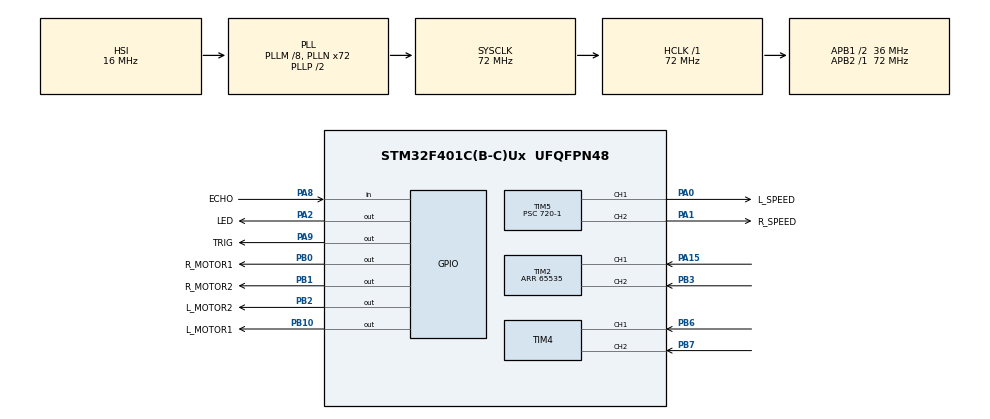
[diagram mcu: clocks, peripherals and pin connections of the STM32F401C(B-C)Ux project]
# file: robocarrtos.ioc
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Dma.Request0=TIM5_CH1
Dma.Request1=TIM5_CH2
Dma.TIM5_CH1.0.Direction=DMA_MEMORY_TO_PERIPH
Dma.TIM5_CH1.0.FIFOMode=DMA_FIFOMODE_DISABLE
Dma.TIM5_CH1.0.Instance=DMA1_Stream2
Dma.TIM5_CH1.0.MemDataAlignment=DMA_MDATAALIGN_HALFWORD
Dma.TIM5_CH1.0.MemInc=DMA_MINC_ENABLE
Dma.TIM5_CH1.0.Mode=DMA_NORMAL
Dma.TIM5_CH1.0.PeriphDataAlignment=DMA_PDATAALIGN_HALFWORD
Dma.TIM5_CH1.0.PeriphInc=DMA_PINC_DISABLE
Dma.TIM5_CH1.0.Priority=DMA_PRIORITY_LOW
Dma.TIM5_CH2.1.Direction=DMA_MEMORY_TO_PERIPH
Dma.TIM5_CH2.1.FIFOMode=DMA_FIFOMODE_DISABLE
Dma.TIM5_CH2.1.Instance=DMA1_Stream4
Dma.TIM5_CH2.1.MemDataAlignment=DMA_MDATAALIGN_HALFWORD
Dma.TIM5_CH2.1.MemInc=DMA_MINC_ENABLE
Dma.TIM5_CH2.1.Mode=DMA_NORMAL
Dma.TIM5_CH2.1.PeriphDataAlignment=DMA_PDATAALIGN_HALFWORD
Dma.TIM5_CH2.1.PeriphInc=DMA_PINC_DISABLE
Dma.TIM5_CH2.1.Priority=DMA_PRIORITY_LOW
FREERTOS.Tasks01=defaultTask,8,128,StartDefaultTask,Default,NULL,Dynamic,NULL,NULL;ProcessDistance,23,128,StartpDistance,Default,NULL,Dynamic,NULL,NULL;updateTicks,32,128,StartTicks,Default,NULL,Dynamic,NULL,NULL;DirectionContro,36,128,StartDirection,Default,NULL,Dynamic,NULL,NULL
FREERTOS.configUSE_NEWLIB_REENTRANT=1
Mcu.Family=STM32F4
Mcu.Name=STM32F401C(B-C)Ux
Mcu.Package=UFQFPN48
NVIC.DMA1_Stream2_IRQn=true\:5\:0\:false\:false\:true\:true\:false\:true\:true
NVIC.DMA1_Stream4_IRQn=true\:5\:0\:false\:false\:true\:true\:false\:true\:true
NVIC.PriorityGroup=NVIC_PRIORITYGROUP_4
NVIC.TIM1_UP_TIM10_IRQn=true\:15\:0\:false\:false\:true\:false\:false\:true\:true
NVIC.TIM2_IRQn=true\:5\:0\:false\:false\:true\:true\:true\:true\:true
NVIC.TIM4_IRQn=true\:5\:0\:false\:false\:true\:true\:true\:true\:true
NVIC.TimeBase=TIM1_UP_TIM10_IRQn
NVIC.TimeBaseIP=TIM10
PA0-WKUP.GPIO_Label=L_SPEED
PA0-WKUP.Signal=S_TIM5_CH1
PA1.GPIO_Label=R_SPEED
PA1.Signal=S_TIM5_CH2
PA13.Mode=Serial_Wire
PA13.Signal=SYS_JTMS-SWDIO
PA14.Mode=Serial_Wire
PA14.Signal=SYS_JTCK-SWCLK
PA15.Signal=S_TIM2_CH1_ETR
PA2.GPIO_Label=LED
PA2.Signal=GPIO_Output
PA8.GPIO_Label=ECHO
PA8.Signal=GPIO_Input
PA9.GPIO_Label=TRIG
PA9.Signal=GPIO_Output
PB0.GPIO_Label=R_MOTOR1
PB0.Signal=GPIO_Output
PB1.GPIO_Label=R_MOTOR2
PB1.Signal=GPIO_Output
PB10.GPIO_Label=L_MOTOR1
PB10.Signal=GPIO_Output
PB2.GPIO_Label=L_MOTOR2
PB2.Signal=GPIO_Output
PB3.Signal=S_TIM2_CH2
PB6.Signal=S_TIM4_CH1
PB7.Signal=S_TIM4_CH2
ProjectManager.HeapSize=0x200
ProjectManager.StackSize=0x400
ProjectManager.TargetToolchain=STM32CubeIDE
RCC.48MHZClocksFreq_Value=36000000
RCC.AHBFreq_Value=72000000
RCC.APB1CLKDivider=RCC_HCLK_DIV2
RCC.APB1Freq_Value=36000000
RCC.APB1TimFreq_Value=72000000
RCC.APB2Freq_Value=72000000
RCC.APB2TimFreq_Value=72000000
RCC.CortexFreq_Value=72000000
RCC.HCLKFreq_Value=72000000
RCC.HSE_VALUE=25000000
RCC.HSI_VALUE=16000000
RCC.LSE_VALUE=32768
RCC.PLLM=8
RCC.PLLN=72
RCC.SYSCLKFreq_VALUE=72000000
RCC.SYSCLKSource=RCC_SYSCLKSOURCE_PLLCLK
RCC.VCOOutputFreq_Value=144000000
SH.S_TIM2_CH1_ETR.0=TIM2_CH1,Encoder_Interface
SH.S_TIM2_CH2.0=TIM2_CH2,Encoder_Interface
SH.S_TIM4_CH1.0=TIM4_CH1,Encoder_Interface
SH.S_TIM4_CH2.0=TIM4_CH2,Encoder_Interface
SH.S_TIM5_CH1.0=TIM5_CH1,PWM Generation1 CH1
SH.S_TIM5_CH2.0=TIM5_CH2,PWM Generation2 CH2
TIM1.Prescaler=71
TIM2.EncoderMode=TIM_ENCODERMODE_TI12
TIM2.IC1Polarity=TIM_ICPOLARITY_RISING
TIM2.IC2Polarity=TIM_ICPOLARITY_RISING
TIM2.Period=65535
TIM4.EncoderMode=TIM_ENCODERMODE_TI12
TIM5.Channel-PWM\ Generation1\ CH1=TIM_CHANNEL_1
TIM5.Channel-PWM\ Generation2\ CH2=TIM_CHANNEL_2
TIM5.Period=1000-1
TIM5.Prescaler=720-1
TIM5.Pulse-PWM\ Generation1\ CH1=500
TIM5.Pulse-PWM\ Generation2\ CH2=1000
VP_FREERTOS_VS_CMSIS_V2.Mode=CMSIS_V2
VP_SYS_VS_tim10.Mode=TIM10
VP_TIM1_VS_ClockSourceINT.Mode=Internal
VP_TIM5_VS_ClockSourceINT.Mode=Internal
board=custom

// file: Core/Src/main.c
/* USER CODE BEGIN Header */
/**
 ******************************************************************************
 * @file           : main.c
 * @brief          : Main program body
 ******************************************************************************
 * @attention
 *
 * Copyright (c) 2023 STMicroelectronics.
 * All rights reserved.
 *
 * This software is licensed under terms that can be found in the LICENSE file
 * in the root directory of this software component.
 * If no LICENSE file comes with this software, it is provided AS-IS.
 *
 ******************************************************************************
 */
/* USER CODE END Header */
#include "main.h"
#include "cmsis_os.h"

/* USER CODE BEGIN PTD */
typedef enum {
	STOP,
	FOWARD,
	BACKWARD,
	LEFT,
	RIGHT,
	FREE
} motorDirection;
/* USER CODE END PTD */

TIM_HandleTypeDef htim1;
TIM_HandleTypeDef htim2;
TIM_HandleTypeDef htim4;
TIM_HandleTypeDef htim5;
DMA_HandleTypeDef hdma_tim5_ch1;
DMA_HandleTypeDef hdma_tim5_ch2;

/* Definitions for defaultTask */
osThreadId_t defaultTaskHandle;
const osThreadAttr_t defaultTask_attributes = {
  .name = "defaultTask",
  .stack_size = 128 * 4,
  .priority = (osPriority_t) osPriorityLow,
};
/* Definitions for ProcessDistance */
osThreadId_t ProcessDistanceHandle;
const osThreadAttr_t ProcessDistance_attributes = {
  .name = "ProcessDistance",
  .stack_size = 128 * 4,
  .priority = (osPriority_t) osPriorityBelowNormal7,
};
/* Definitions for updateTicks */
osThreadId_t updateTicksHandle;
const osThreadAttr_t updateTicks_attributes = {
  .name = "updateTicks",
  .stack_size = 128 * 4,
  .priority = (osPriority_t) osPriorityAboveNormal,
};
/* Definitions for DirectionContro */
osThreadId_t DirectionControHandle;
const osThreadAttr_t DirectionContro_attributes = {
  .name = "DirectionContro",
  .stack_size = 128 * 4,
  .priority = (osPriority_t) osPriorityAboveNormal4,
};
/* USER CODE BEGIN PV */
#define TRIG_PIN GPIO_PIN_9
#define TRIG_PORT GPIOA
#define ECHO_PIN GPIO_PIN_8
#define ECHO_PORT GPIOA
uint32_t pMillis;
uint32_t Value1 = 0;
uint32_t Value2 = 0;
uint16_t Distance  = 0;  // cm
int16_t encoder_velocity;
int32_t encoder_position;
uint32_t timerCounter;
int16_t timerC;
uint32_t ticks;
uint32_t timerCounterR;
int16_t timerCR;
uint32_t ticksR;
/* USER CODE END PV */

void SystemClock_Config(void);
static void MX_GPIO_Init(void);
static void MX_DMA_Init(void);
static void MX_TIM1_Init(void);
static void MX_TIM2_Init(void);
static void MX_TIM4_Init(void);
static void MX_TIM5_Init(void);
void StartDefaultTask(void *argument);
void StartpDistance(void *argument);
void StartTicks(void *argument);
void StartDirection(void *argument);

/* USER CODE BEGIN PFP */
void drive(motorDirection x); // Robot directions (see enum)
void speedRight(int x); //PWM right
void speedLeft(int x); //PWM Left
void updateDistance(void); // Updates Distance Var
/* USER CODE END PFP */

/* USER CODE BEGIN 0 */
// Calls when timer completes
void HAL_TIM_IC_CaptureCallback(TIM_HandleTypeDef *htim) {

	if(htim == &htim2) {
		timerCounter = __HAL_TIM_GET_COUNTER (htim) ; //gets ticks for motor 1
		timerC = (int16_t)timerCounter; //Convert type to fix overflow
	} else if(htim == &htim4) {
		timerCounterR = __HAL_TIM_GET_COUNTER (htim) ; //gets ticks for motor 2
		timerCR = (int16_t)timerCounterR;
	}

}
/* USER CODE END 0 */

int main(void)
{

  /* MCU Configuration--------------------------------------------------------*/

  /* Reset of all peripherals, Initializes the Flash interface and the Systick. */
  HAL_Init();

  /* Configure the system clock */
  SystemClock_Config();

  /* Initialize all configured peripherals */
  MX_GPIO_Init();
  MX_DMA_Init();
  MX_TIM1_Init();
  MX_TIM2_Init();
  MX_TIM4_Init();
  MX_TIM5_Init();
  /* USER CODE BEGIN 2 */
	HAL_TIM_Base_Start(&htim1); // Start timer for distance sensor sound wave time tracking
	HAL_GPIO_WritePin(TRIG_PORT, TRIG_PIN, GPIO_PIN_RESET);  // pull the TRIG pin low for distance sensor
	// Sets values to 0 in main (allows live variables for debugging)
	timerCounter = 0;
	timerCounterR = 0;
	ticks = 0;
	//set both motors to 100% duty cycle (full speed)
	speedLeft(1000);
	speedRight(1000);
	HAL_TIM_Encoder_Start_IT(&htim2, TIM_CHANNEL_ALL); //Start timer to check ticks for motor 1
	HAL_TIM_Encoder_Start_IT(&htim4, TIM_CHANNEL_ALL); //Start timer to check ticks for motor2
	HAL_TIM_PWM_Start(&htim5, TIM_CHANNEL_1); // Start PWM for motor 1 (PWM controls speed with duty cycle)
	HAL_TIM_PWM_Start(&htim5, TIM_CHANNEL_2); // Start PWM for motor 2
  /* USER CODE END 2 */

  /* Init scheduler */
  osKernelInitialize();

  /* Create the thread(s) */
  /* creation of defaultTask */
  defaultTaskHandle = osThreadNew(StartDefaultTask, NULL, &defaultTask_attributes);

  /* creation of ProcessDistance */
  ProcessDistanceHandle = osThreadNew(StartpDistance, NULL, &ProcessDistance_attributes);

  /* creation of updateTicks */
  updateTicksHandle = osThreadNew(StartTicks, NULL, &updateTicks_attributes);

  /* creation of DirectionContro */
  DirectionControHandle = osThreadNew(StartDirection, NULL, &DirectionContro_attributes);

  /* Start scheduler */
  osKernelStart();

  /* We should never get here as control is now taken by the scheduler */
  /* Infinite loop */
	while (1)
	{

	}
}

void SystemClock_Config(void)
{
  RCC_OscInitTypeDef RCC_OscInitStruct = {0};
  RCC_ClkInitTypeDef RCC_ClkInitStruct = {0};

  /** Configure the main internal regulator output voltage
  */
  __HAL_RCC_PWR_CLK_ENABLE();
  __HAL_PWR_VOLTAGESCALING_CONFIG(PWR_REGULATOR_VOLTAGE_SCALE2);

  /** Initializes the RCC Oscillators according to the specified parameters
  * in the RCC_OscInitTypeDef structure.
  */
  RCC_OscInitStruct.OscillatorType = RCC_OSCILLATORTYPE_HSI;
  RCC_OscInitStruct.HSIState = RCC_HSI_ON;
  RCC_OscInitStruct.HSICalibrationValue = RCC_HSICALIBRATION_DEFAULT;
  RCC_OscInitStruct.PLL.PLLState = RCC_PLL_ON;
  RCC_OscInitStruct.PLL.PLLSource = RCC_PLLSOURCE_HSI;
  RCC_OscInitStruct.PLL.PLLM = 8;
  RCC_OscInitStruct.PLL.PLLN = 72;
  RCC_OscInitStruct.PLL.PLLP = RCC_PLLP_DIV2;
  RCC_OscInitStruct.PLL.PLLQ = 4;
  if (HAL_RCC_OscConfig(&RCC_OscInitStruct) != HAL_OK)
  {
    Error_Handler();
  }

  /** Initializes the CPU, AHB and APB buses clocks
  */
  RCC_ClkInitStruct.ClockType = RCC_CLOCKTYPE_HCLK|RCC_CLOCKTYPE_SYSCLK
                              |RCC_CLOCKTYPE_PCLK1|RCC_CLOCKTYPE_PCLK2;
  RCC_ClkInitStruct.SYSCLKSource = RCC_SYSCLKSOURCE_PLLCLK;
  RCC_ClkInitStruct.AHBCLKDivider = RCC_SYSCLK_DIV1;
  RCC_ClkInitStruct.APB1CLKDivider = RCC_HCLK_DIV2;
  RCC_ClkInitStruct.APB2CLKDivider = RCC_HCLK_DIV1;

  if (HAL_RCC_ClockConfig(&RCC_ClkInitStruct, FLASH_LATENCY_2) != HAL_OK)
  {
    Error_Handler();
  }
}

static void MX_TIM1_Init(void)
{

  TIM_ClockConfigTypeDef sClockSourceConfig = {0};
  TIM_MasterConfigTypeDef sMasterConfig = {0};

  htim1.Instance = TIM1;
  htim1.Init.Prescaler = 71;
  htim1.Init.CounterMode = TIM_COUNTERMODE_UP;
  htim1.Init.Period = 65535;
  htim1.Init.ClockDivision = TIM_CLOCKDIVISION_DIV1;
  htim1.Init.RepetitionCounter = 0;
  htim1.Init.AutoReloadPreload = TIM_AUTORELOAD_PRELOAD_DISABLE;
  if (HAL_TIM_Base_Init(&htim1) != HAL_OK)
  {
    Error_Handler();
  }
  sClockSourceConfig.ClockSource = TIM_CLOCKSOURCE_INTERNAL;
  if (HAL_TIM_ConfigClockSource(&htim1, &sClockSourceConfig) != HAL_OK)
  {
    Error_Handler();
  }
  sMasterConfig.MasterOutputTrigger = TIM_TRGO_RESET;
  sMasterConfig.MasterSlaveMode = TIM_MASTERSLAVEMODE_DISABLE;
  if (HAL_TIMEx_MasterConfigSynchronization(&htim1, &sMasterConfig) != HAL_OK)
  {
    Error_Handler();
  }

}

static void MX_TIM2_Init(void)
{

  TIM_Encoder_InitTypeDef sConfig = {0};
  TIM_MasterConfigTypeDef sMasterConfig = {0};

  htim2.Instance = TIM2;
  htim2.Init.Prescaler = 0;
  htim2.Init.CounterMode = TIM_COUNTERMODE_UP;
  htim2.Init.Period = 65535;
  htim2.Init.ClockDivision = TIM_CLOCKDIVISION_DIV1;
  htim2.Init.AutoReloadPreload = TIM_AUTORELOAD_PRELOAD_DISABLE;
  sConfig.EncoderMode = TIM_ENCODERMODE_TI12;
  sConfig.IC1Polarity = TIM_ICPOLARITY_RISING;
  sConfig.IC1Selection = TIM_ICSELECTION_DIRECTTI;
  sConfig.IC1Prescaler = TIM_ICPSC_DIV1;
  sConfig.IC1Filter = 0;
  sConfig.IC2Polarity = TIM_ICPOLARITY_RISING;
  sConfig.IC2Selection = TIM_ICSELECTION_DIRECTTI;
  sConfig.IC2Prescaler = TIM_ICPSC_DIV1;
  sConfig.IC2Filter = 0;
  if (HAL_TIM_Encoder_Init(&htim2, &sConfig) != HAL_OK)
  {
    Error_Handler();
  }
  sMasterConfig.MasterOutputTrigger = TIM_TRGO_RESET;
  sMasterConfig.MasterSlaveMode = TIM_MASTERSLAVEMODE_DISABLE;
  if (HAL_TIMEx_MasterConfigSynchronization(&htim2, &sMasterConfig) != HAL_OK)
  {
    Error_Handler();
  }

}

static void MX_TIM4_Init(void)
{

  TIM_Encoder_InitTypeDef sConfig = {0};
  TIM_MasterConfigTypeDef sMasterConfig = {0};

  htim4.Instance = TIM4;
  htim4.Init.Prescaler = 0;
  htim4.Init.CounterMode = TIM_COUNTERMODE_UP;
  htim4.Init.Period = 65535;
  htim4.Init.ClockDivision = TIM_CLOCKDIVISION_DIV1;
  htim4.Init.AutoReloadPreload = TIM_AUTORELOAD_PRELOAD_DISABLE;
  sConfig.EncoderMode = TIM_ENCODERMODE_TI12;
  sConfig.IC1Polarity = TIM_ICPOLARITY_RISING;
  sConfig.IC1Selection = TIM_ICSELECTION_DIRECTTI;
  sConfig.IC1Prescaler = TIM_ICPSC_DIV1;
  sConfig.IC1Filter = 0;
  sConfig.IC2Polarity = TIM_ICPOLARITY_RISING;
  sConfig.IC2Selection = TIM_ICSELECTION_DIRECTTI;
  sConfig.IC2Prescaler = TIM_ICPSC_DIV1;
  sConfig.IC2Filter = 0;
  if (HAL_TIM_Encoder_Init(&htim4, &sConfig) != HAL_OK)
  {
    Error_Handler();
  }
  sMasterConfig.MasterOutputTrigger = TIM_TRGO_RESET;
  sMasterConfig.MasterSlaveMode = TIM_MASTERSLAVEMODE_DISABLE;
  if (HAL_TIMEx_MasterConfigSynchronization(&htim4, &sMasterConfig) != HAL_OK)
  {
    Error_Handler();
  }

}

static void MX_TIM5_Init(void)
{

  TIM_ClockConfigTypeDef sClockSourceConfig = {0};
  TIM_MasterConfigTypeDef sMasterConfig = {0};
  TIM_OC_InitTypeDef sConfigOC = {0};

  htim5.Instance = TIM5;
  htim5.Init.Prescaler = 720-1;
  htim5.Init.CounterMode = TIM_COUNTERMODE_UP;
  htim5.Init.Period = 1000-1;
  htim5.Init.ClockDivision = TIM_CLOCKDIVISION_DIV1;
  htim5.Init.AutoReloadPreload = TIM_AUTORELOAD_PRELOAD_DISABLE;
  if (HAL_TIM_Base_Init(&htim5) != HAL_OK)
  {
    Error_Handler();
  }
  sClockSourceConfig.ClockSource = TIM_CLOCKSOURCE_INTERNAL;
  if (HAL_TIM_ConfigClockSource(&htim5, &sClockSourceConfig) != HAL_OK)
  {
    Error_Handler();
  }
  if (HAL_TIM_PWM_Init(&htim5) != HAL_OK)
  {
    Error_Handler();
  }
  sMasterConfig.MasterOutputTrigger = TIM_TRGO_RESET;
  sMasterConfig.MasterSlaveMode = TIM_MASTERSLAVEMODE_DISABLE;
  if (HAL_TIMEx_MasterConfigSynchronization(&htim5, &sMasterConfig) != HAL_OK)
  {
    Error_Handler();
  }
  sConfigOC.OCMode = TIM_OCMODE_PWM1;
  sConfigOC.Pulse = 500;
  sConfigOC.OCPolarity = TIM_OCPOLARITY_HIGH;
  sConfigOC.OCFastMode = TIM_OCFAST_DISABLE;
  if (HAL_TIM_PWM_ConfigChannel(&htim5, &sConfigOC, TIM_CHANNEL_1) != HAL_OK)
  {
    Error_Handler();
  }
  sConfigOC.Pulse = 1000;
  if (HAL_TIM_PWM_ConfigChannel(&htim5, &sConfigOC, TIM_CHANNEL_2) != HAL_OK)
  {
    Error_Handler();
  }
  HAL_TIM_MspPostInit(&htim5);

}

static void MX_DMA_Init(void)
{

  /* DMA controller clock enable */
  __HAL_RCC_DMA1_CLK_ENABLE();

  /* DMA interrupt init */
  /* DMA1_Stream2_IRQn interrupt configuration */
  HAL_NVIC_SetPriority(DMA1_Stream2_IRQn, 5, 0);
  HAL_NVIC_EnableIRQ(DMA1_Stream2_IRQn);
  /* DMA1_Stream4_IRQn interrupt configuration */
  HAL_NVIC_SetPriority(DMA1_Stream4_IRQn, 5, 0);
  HAL_NVIC_EnableIRQ(DMA1_Stream4_IRQn);

}

static void MX_GPIO_Init(void)
{
  GPIO_InitTypeDef GPIO_InitStruct = {0};

  /* GPIO Ports Clock Enable */
  __HAL_RCC_GPIOA_CLK_ENABLE();
  __HAL_RCC_GPIOB_CLK_ENABLE();

  /*Configure GPIO pin Output Level */
  HAL_GPIO_WritePin(GPIOA, LED_Pin|TRIG_Pin, GPIO_PIN_RESET);

  /*Configure GPIO pin Output Level */
  HAL_GPIO_WritePin(GPIOB, R_MOTOR1_Pin|R_MOTOR2_Pin|L_MOTOR2_Pin|L_MOTOR1_Pin, GPIO_PIN_RESET);

  /*Configure GPIO pins : LED_Pin TRIG_Pin */
  GPIO_InitStruct.Pin = LED_Pin|TRIG_Pin;
  GPIO_InitStruct.Mode = GPIO_MODE_OUTPUT_PP;
  GPIO_InitStruct.Pull = GPIO_NOPULL;
  GPIO_InitStruct.Speed = GPIO_SPEED_FREQ_LOW;
  HAL_GPIO_Init(GPIOA, &GPIO_InitStruct);

  /*Configure GPIO pins : R_MOTOR1_Pin R_MOTOR2_Pin L_MOTOR2_Pin L_MOTOR1_Pin */
  GPIO_InitStruct.Pin = R_MOTOR1_Pin|R_MOTOR2_Pin|L_MOTOR2_Pin|L_MOTOR1_Pin;
  GPIO_InitStruct.Mode = GPIO_MODE_OUTPUT_PP;
  GPIO_InitStruct.Pull = GPIO_NOPULL;
  GPIO_InitStruct.Speed = GPIO_SPEED_FREQ_LOW;
  HAL_GPIO_Init(GPIOB, &GPIO_InitStruct);

  /*Configure GPIO pin : ECHO_Pin */
  GPIO_InitStruct.Pin = ECHO_Pin;
  GPIO_InitStruct.Mode = GPIO_MODE_INPUT;
  GPIO_InitStruct.Pull = GPIO_NOPULL;
  HAL_GPIO_Init(ECHO_GPIO_Port, &GPIO_InitStruct);

}

/* USER CODE BEGIN 4 */
void drive(motorDirection x) {

	HAL_GPIO_WritePin(R_MOTOR1_GPIO_Port, R_MOTOR1_Pin, 0);
	HAL_GPIO_WritePin(R_MOTOR1_GPIO_Port, R_MOTOR2_Pin, 0);
	HAL_GPIO_WritePin(R_MOTOR1_GPIO_Port, L_MOTOR1_Pin, 0);
	HAL_GPIO_WritePin(R_MOTOR1_GPIO_Port, L_MOTOR2_Pin, 0);

	if(x==STOP) {
		HAL_GPIO_WritePin(R_MOTOR1_GPIO_Port, R_MOTOR1_Pin, 1);
		HAL_GPIO_WritePin(R_MOTOR1_GPIO_Port, R_MOTOR2_Pin, 1);
		HAL_GPIO_WritePin(R_MOTOR1_GPIO_Port, L_MOTOR1_Pin, 1);
		HAL_GPIO_WritePin(R_MOTOR1_GPIO_Port, L_MOTOR2_Pin, 1);
	} else if (x==FREE) {
		HAL_GPIO_WritePin(R_MOTOR1_GPIO_Port, R_MOTOR1_Pin, 0);
		HAL_GPIO_WritePin(R_MOTOR1_GPIO_Port, R_MOTOR2_Pin, 0);
		HAL_GPIO_WritePin(R_MOTOR1_GPIO_Port, L_MOTOR1_Pin, 0);
		HAL_GPIO_WritePin(R_MOTOR1_GPIO_Port, L_MOTOR2_Pin, 0);
	}else if (x==FOWARD) {
		HAL_GPIO_WritePin(R_MOTOR1_GPIO_Port, R_MOTOR1_Pin, 1);
		HAL_GPIO_WritePin(R_MOTOR1_GPIO_Port, R_MOTOR2_Pin, 0);
		HAL_GPIO_WritePin(R_MOTOR1_GPIO_Port, L_MOTOR1_Pin, 0);
		HAL_GPIO_WritePin(R_MOTOR1_GPIO_Port, L_MOTOR2_Pin, 1);
	} else if (x==BACKWARD) {
		HAL_GPIO_WritePin(R_MOTOR1_GPIO_Port, R_MOTOR1_Pin, 0);
		HAL_GPIO_WritePin(R_MOTOR1_GPIO_Port, R_MOTOR2_Pin, 1);
		HAL_GPIO_WritePin(R_MOTOR1_GPIO_Port, L_MOTOR1_Pin, 1);
		HAL_GPIO_WritePin(R_MOTOR1_GPIO_Port, L_MOTOR2_Pin, 0);
	} else if (x==LEFT) {
		HAL_GPIO_WritePin(R_MOTOR1_GPIO_Port, R_MOTOR1_Pin, 0);
		HAL_GPIO_WritePin(R_MOTOR1_GPIO_Port, R_MOTOR2_Pin, 1);
		HAL_GPIO_WritePin(R_MOTOR1_GPIO_Port, L_MOTOR1_Pin, 0);
		HAL_GPIO_WritePin(R_MOTOR1_GPIO_Port, L_MOTOR2_Pin, 1);
	} else if (x==RIGHT) {
		HAL_GPIO_WritePin(R_MOTOR1_GPIO_Port, R_MOTOR1_Pin, 1);
		HAL_GPIO_WritePin(R_MOTOR1_GPIO_Port, R_MOTOR2_Pin, 0);
		HAL_GPIO_WritePin(R_MOTOR1_GPIO_Port, L_MOTOR1_Pin, 1);
		HAL_GPIO_WritePin(R_MOTOR1_GPIO_Port, L_MOTOR2_Pin, 0);
	}
	osDelay(20);
}

void speedRight(int x) {

	if(1000<x) {
		x = 1000;
	}
	TIM5->CCR1 = x;
}
void speedLeft(int x) {
	if(1000<x) {
		x = 1000;
	}
	TIM5->CCR2 = x;
}

void updateDistance(void) {
	HAL_GPIO_WritePin(TRIG_PORT, TRIG_PIN, GPIO_PIN_SET);  // pull the TRIG pin HIGH
	__HAL_TIM_SET_COUNTER(&htim1, 0);
	while (__HAL_TIM_GET_COUNTER (&htim1) < 10);  // wait for 10 us
	HAL_GPIO_WritePin(TRIG_PORT, TRIG_PIN, GPIO_PIN_RESET);  // pull the TRIG pin low

	pMillis = HAL_GetTick(); // used this to avoid infinite while loop  (for timeout)
	// wait for the echo pin to go high
	while (!(HAL_GPIO_ReadPin (ECHO_PORT, ECHO_PIN)) && pMillis + 10 >  HAL_GetTick());
	Value1 = __HAL_TIM_GET_COUNTER (&htim1);

	pMillis = HAL_GetTick(); // used this to avoid infinite while loop (for timeout)
	// wait for the echo pin to go low
	while ((HAL_GPIO_ReadPin (ECHO_PORT, ECHO_PIN)) && pMillis + 50 > HAL_GetTick());
	Value2 = __HAL_TIM_GET_COUNTER (&htim1);

	Distance = (Value2-Value1)* 0.034/2;
}
/* USER CODE END 4 */

void StartDefaultTask(void *argument)
{
  /* USER CODE BEGIN 5 */
	/* Infinite loop */
	for(;;)
	{

		HAL_GPIO_TogglePin(LED_GPIO_Port, LED_Pin);

		osDelay(500);
	}
  /* USER CODE END 5 */
}

void StartpDistance(void *argument)
{
  /* USER CODE BEGIN StartpDistance */
	/* Infinite loop */
	for(;;)
	{
		updateDistance(); //get distance from ultra sonic sensor (updates Distance variable)

		osDelay(20);
	}
  /* USER CODE END StartpDistance */
}

void StartTicks(void *argument)
{
  /* USER CODE BEGIN StartTicks */
	/* Infinite loop */
	for(;;)
	{
		ticks = timerC; //gets ticks for motor 1
		ticksR = timerCR;//gets ticks for motor 2

		timerCounter = 0; // Resets counters for encoders
		timerC = 0;
		timerCounterR = 0;
		timerCR = 0;
		osDelay(10);
	}
  /* USER CODE END StartTicks */
}

void StartDirection(void *argument)
{
  /* USER CODE BEGIN StartDirection */
	/* Infinite loop */
	for(;;)
	{
		if(Distance < 15&&Distance > 2) { // checks if object is near
			drive(BACKWARD);
			osDelay(900); //delay for 900ms
			drive(LEFT);
			osDelay(2295); // 2295ms delay

		} else {

			drive(FOWARD);
		}
		osDelay(20);
	}
  /* USER CODE END StartDirection */
}

void HAL_TIM_PeriodElapsedCallback(TIM_HandleTypeDef *htim)
{
  if (htim->Instance == TIM10) {
    HAL_IncTick();
  }
}

void Error_Handler(void)
{
	__disable_irq();
	while (1)
	{
	}
}
